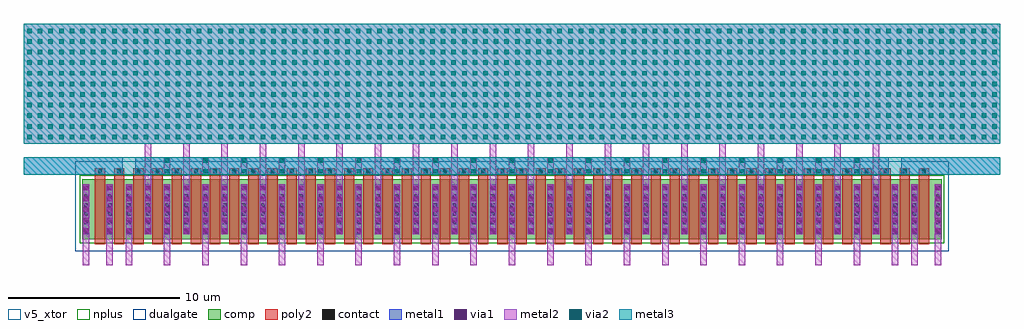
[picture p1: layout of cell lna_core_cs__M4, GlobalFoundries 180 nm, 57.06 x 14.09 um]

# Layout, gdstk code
import gdstk
lib = gdstk.Library(unit=1e-6, precision=1e-09)
def R(c, l, rs):  # rectangles x0, y0, x1, y1
    for r in rs: c.add(gdstk.rectangle(r[:2], r[2:], *l))
def A(c, l, x, y, w, h, nx, ny, dx, dy):  # array of equal rectangles
    R(c, l, [(x+i*dx, y+j*dy, x+i*dx+w, y+j*dy+h) for i in range(nx) for j in range(ny)])
comp = (22, 0)
poly2 = (30, 0)
nplus = (32, 0)
contact = (33, 0)
metal1 = (34, 0)
via1 = (35, 0)
metal2 = (36, 0)
via2 = (38, 0)
metal3 = (42, 0)
dualgate = (55, 0)
v5_xtor = (112, 1)

lna_core_cs__m4_pcell = lib.new_cell('lna_core_cs__M4_pcell')
R(lna_core_cs__m4_pcell, comp, [(-0.42,0,49.8,3.5)])
A(lna_core_cs__m4_pcell, poly2, 0.31, -0.3, 0.6, 4.46, 44, 1, 1.12, 0)
R(lna_core_cs__m4_pcell, nplus, [(-0.59,-0.24,49.97,3.74)])
A(lna_core_cs__m4_pcell, contact, -0.32, 0.365, 0.22, 0.22, 1, 6, 0, 0.51)
A(lna_core_cs__m4_pcell, contact, 1.06, 0.365, 0.22, 0.22, 43, 6, 1.12, 0.51)
A(lna_core_cs__m4_pcell, contact, 49.48, 0.365, 0.22, 0.22, 1, 6, 0, 0.51)
A(lna_core_cs__m4_pcell, contact, 0.5, 3.87, 0.22, 0.22, 44, 1, 1.12, 0)
A(lna_core_cs__m4_pcell, metal1, 0.98, 0.285, 0.38, 2.93, 43, 1, 1.12, 0)
A(lna_core_cs__m4_pcell, metal1, 0.42, 3.79, 0.38, 0.38, 44, 1, 1.12, 0)
R(lna_core_cs__m4_pcell, metal1, [(-0.4,0.285,-0.02,3.215), (49.4,0.285,49.78,3.215)])
R(lna_core_cs__m4_pcell, dualgate, [(-0.84,-0.71,50.22,4.58)])
R(lna_core_cs__m4_pcell, v5_xtor, [(-0.84,-0.71,50.22,4.58)])

lna_core_cs__m4 = lib.new_cell('lna_core_cs__M4')
R(lna_core_cs__m4, metal1, [(-3.84,3.79,1.92,4.79), (2.66,3.79,46.72,4.79), (47.46,3.79,53.22,4.79)])
A(lna_core_cs__m4, via1, -0.34, 0.38, 0.26, 0.26, 1, 5, 0, 0.62)
A(lna_core_cs__m4, via1, 1.04, 0.38, 0.26, 0.26, 43, 5, 1.12, 0.62)
A(lna_core_cs__m4, via1, 49.46, 0.38, 0.26, 0.26, 1, 5, 0, 0.62)
A(lna_core_cs__m4, via1, 4.4, 3.85, 0.26, 0.26, 19, 2, 2.24, 0.62)
A(lna_core_cs__m4, metal2, 2.1, -1.5, 0.38, 4.715, 21, 1, 2.24, 0)
A(lna_core_cs__m4, metal2, 3.22, 0.285, 0.38, 5.805, 20, 1, 2.24, 0)
A(lna_core_cs__m4, metal2, 4.34, 3.79, 0.38, 1, 19, 1, 2.24, 0)
R(lna_core_cs__m4, metal2, [(-0.4,-1.5,-0.02,3.215), (0.98,-1.5,1.36,3.215), (48.02,-1.5,48.4,3.215), (49.4,-1.5,49.78,3.215), (-3.84,5.59,53.22,12.59)])
A(lna_core_cs__m4, via2, 4.4, 3.85, 0.26, 0.26, 19, 2, 2.24, 0.62)
A(lna_core_cs__m4, via2, -3.65, 5.86, 0.26, 0.26, 92, 11, 0.62, 0.62)
R(lna_core_cs__m4, metal3, [(-3.84,3.79,53.22,4.79), (-3.84,5.59,53.22,12.59)])
lna_core_cs__m4.add(gdstk.Reference(lna_core_cs__m4_pcell, (0,0)))

lib.write_gds('lna_core_cs__M4.gds')
